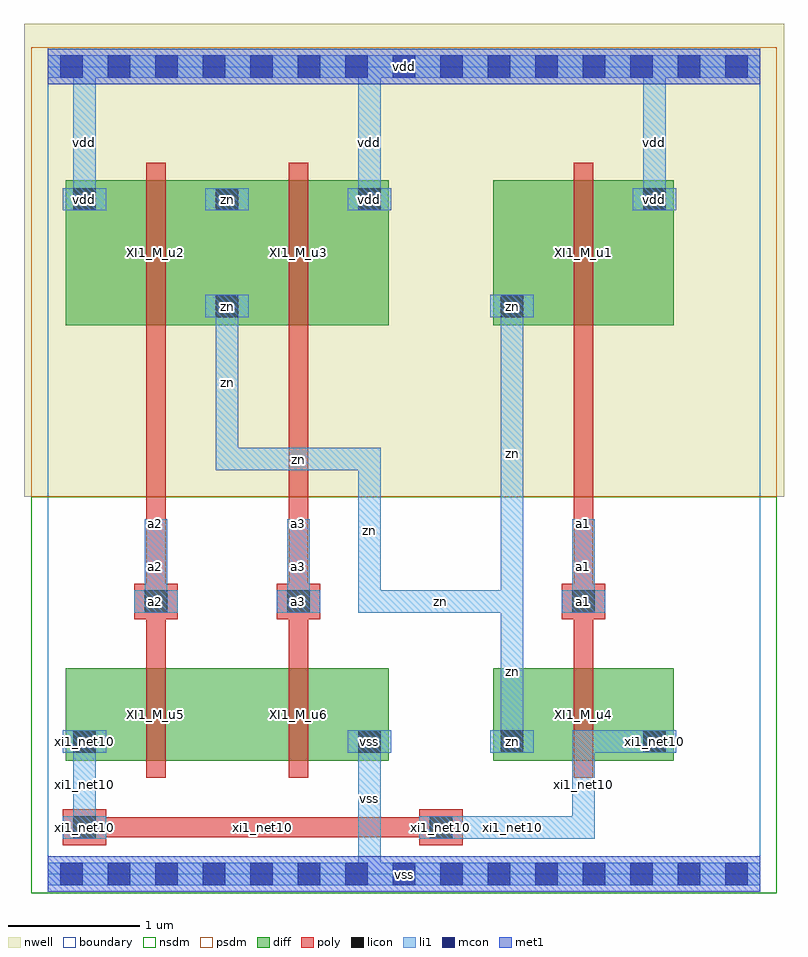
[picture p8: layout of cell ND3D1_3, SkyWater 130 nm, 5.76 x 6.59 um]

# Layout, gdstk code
import gdstk
lib = gdstk.Library(unit=1e-6, precision=1e-09)
def R(c, l, rs):  # rectangles x0, y0, x1, y1
    for r in rs: c.add(gdstk.rectangle(r[:2], r[2:], *l))
def A(c, l, x, y, w, h, nx, ny, dx, dy):  # array of equal rectangles
    R(c, l, [(x+i*dx, y+j*dy, x+i*dx+w, y+j*dy+h) for i in range(nx) for j in range(ny)])
L0_0 = (0, 0)
nwell = (64, 20)
diff = (65, 20)
poly = (66, 20)
licon = (66, 44)
li1 = (67, 20)
mcon = (67, 44)
met1 = (68, 20)
nsdm = (93, 44)
psdm = (94, 20)
boundary = (235, 4)

nd3d1_3 = lib.new_cell('ND3D1_3')
R(nd3d1_3, nwell, [(-0.18,2.86,5.58,6.445)])
A(nd3d1_3, diff, 2.295, 0.86, 0.29, 0.29, 3, 1, 1.08, 0)
A(nd3d1_3, diff, 0.135, 4.97, 0.29, 0.29, 3, 1, 1.08, 0)
R(nd3d1_3, diff, [(0.135,0.86,1.505,1.56), (0.135,0.86,0.425,1.15), (1.215,0.86,2.585,1.56), (3.375,0.86,4.745,1.56), (0.135,4.16,1.505,5.26), (1.215,4.16,2.585,5.26), (1.215,4.16,1.505,4.45), (3.375,4.16,4.745,5.26), (3.375,4.16,3.665,4.45), (4.455,4.97,4.745,5.26)])
R(nd3d1_3, poly, [(0.115,0.22,0.445,0.49), (2.815,0.22,3.145,0.49), (0.205,0.28,3.055,0.43), (0.745,0.73,0.895,1.69), (1.825,0.73,1.975,1.69), (3.985,0.73,4.135,1.69), (0.745,0.93,0.895,4.38), (1.825,0.93,1.975,4.38), (3.985,0.93,4.135,4.38), (0.655,1.93,0.985,2.2), (1.735,1.93,2.065,2.2), (3.895,1.93,4.225,2.2), (0.745,4.03,0.895,5.39), (1.825,4.03,1.975,5.39), (3.985,4.03,4.135,5.39)])
A(nd3d1_3, licon, 2.355, 0.92, 0.17, 0.17, 3, 1, 1.08, 0)
A(nd3d1_3, licon, 0.195, 5.03, 0.17, 0.17, 3, 1, 1.08, 0)
R(nd3d1_3, licon, [(0.195,0.27,0.365,0.44), (2.895,0.27,3.065,0.44), (0.195,0.92,0.365,1.09), (0.735,1.98,0.905,2.15), (1.815,1.98,1.985,2.15), (3.975,1.98,4.145,2.15), (1.275,4.22,1.445,4.39), (3.435,4.22,3.605,4.39), (4.515,5.03,4.685,5.2)])
A(nd3d1_3, li1, 2.275, 0.92, 0.33, 0.17, 3, 1, 1.08, 0)
A(nd3d1_3, li1, 0.115, 5.03, 0.33, 0.17, 3, 1, 1.08, 0)
A(nd3d1_3, li1, 0.195, 5.03, 0.17, 1.03, 3, 1, 2.16, 0)
R(nd3d1_3, li1, [(0,-0.085,5.4,0.085), (2.355,0.06,2.525,1.09), (0.115,0.27,0.445,0.44), (0.195,0.27,0.365,1.09), (2.815,0.27,3.145,0.44), (2.895,0.27,4.145,0.44), (3.975,0.27,4.145,1.09), (0.115,0.92,0.445,1.09), (3.435,0.92,3.605,2.15), (3.975,0.92,4.685,1.09), (0.655,1.98,0.985,2.15), (0.735,1.98,0.905,2.69), (1.735,1.98,2.065,2.15), (1.815,1.98,1.985,2.69), (2.355,1.98,3.605,2.15), (2.355,1.98,2.525,3.23), (3.435,1.98,3.605,4.39), (3.895,1.98,4.225,2.15), (3.975,1.98,4.145,2.69), (1.275,3.06,2.525,3.23), (1.275,3.06,1.445,4.39), (1.195,4.22,1.525,4.39), (3.355,4.22,3.685,4.39), (4.435,5.03,4.765,5.2), (0,6.035,5.4,6.205)])
A(nd3d1_3, mcon, 0.095, -0.085, 0.17, 0.17, 15, 2, 0.36, 6.12)
R(nd3d1_3, met1, [(0,-0.135,5.4,0.135), (0,5.985,5.4,6.255)])
R(nd3d1_3, nsdm, [(-0.125,-0.145,5.525,0.145), (-0.125,0.145,5.525,2.86)])
R(nd3d1_3, psdm, [(-0.125,2.86,5.525,5.975), (-0.125,5.975,5.525,6.265)])
R(nd3d1_3, boundary, [(0,0,5.4,6.12)])
nd3d1_3.add(gdstk.FlexPath([(0.115,0.355),(4.765,0.355)], 0, ends="flush", simple_path=True, layer=0, datatype=0))  # L0_0
nd3d1_3.add(gdstk.FlexPath([(0.115,1.005),(4.765,1.005)], 0, ends="flush", simple_path=True, layer=0, datatype=0))  # L0_0
nd3d1_3.add(gdstk.FlexPath([(0.115,1.415),(4.765,1.415)], 0, ends="flush", simple_path=True, layer=0, datatype=0))  # L0_0
nd3d1_3.add(gdstk.FlexPath([(0.115,2.065),(4.765,2.065)], 0, ends="flush", simple_path=True, layer=0, datatype=0))  # L0_0
nd3d1_3.add(gdstk.FlexPath([(0.115,2.605),(4.765,2.605)], 0, ends="flush", simple_path=True, layer=0, datatype=0))  # L0_0
nd3d1_3.add(gdstk.FlexPath([(0.115,3.145),(4.765,3.145)], 0, ends="flush", simple_path=True, layer=0, datatype=0))  # L0_0
nd3d1_3.add(gdstk.FlexPath([(0.115,4.305),(4.765,4.305)], 0, ends="flush", simple_path=True, layer=0, datatype=0))  # L0_0
nd3d1_3.add(gdstk.FlexPath([(0.115,4.775),(4.765,4.775)], 0, ends="flush", simple_path=True, layer=0, datatype=0))  # L0_0
nd3d1_3.add(gdstk.FlexPath([(0.115,5.115),(4.765,5.115)], 0, ends="flush", simple_path=True, layer=0, datatype=0))  # L0_0
nd3d1_3.add(gdstk.FlexPath([(0.115,5.765),(4.765,5.765)], 0, ends="flush", simple_path=True, layer=0, datatype=0))  # L0_0
nd3d1_3.add(gdstk.FlexPath([(0.28,0.06),(0.28,6.06)], 0, ends="flush", simple_path=True, layer=0, datatype=0))  # L0_0
nd3d1_3.add(gdstk.FlexPath([(0.82,0.06),(0.82,6.06)], 0, ends="flush", simple_path=True, layer=0, datatype=0))  # L0_0
nd3d1_3.add(gdstk.FlexPath([(1.36,0.06),(1.36,6.06)], 0, ends="flush", simple_path=True, layer=0, datatype=0))  # L0_0
nd3d1_3.add(gdstk.FlexPath([(1.9,0.06),(1.9,6.06)], 0, ends="flush", simple_path=True, layer=0, datatype=0))  # L0_0
nd3d1_3.add(gdstk.FlexPath([(2.44,0.06),(2.44,6.06)], 0, ends="flush", simple_path=True, layer=0, datatype=0))  # L0_0
nd3d1_3.add(gdstk.FlexPath([(2.98,0.06),(2.98,6.06)], 0, ends="flush", simple_path=True, layer=0, datatype=0))  # L0_0
nd3d1_3.add(gdstk.FlexPath([(3.52,0.06),(3.52,6.06)], 0, ends="flush", simple_path=True, layer=0, datatype=0))  # L0_0
nd3d1_3.add(gdstk.FlexPath([(4.06,0.06),(4.06,6.06)], 0, ends="flush", simple_path=True, layer=0, datatype=0))  # L0_0
nd3d1_3.add(gdstk.FlexPath([(4.6,0.06),(4.6,6.06)], 0, ends="flush", simple_path=True, layer=0, datatype=0))  # L0_0
nd3d1_3.add(gdstk.Label('XI1_M_u4', (4.06,1.21), layer=65, texttype=20))
nd3d1_3.add(gdstk.Label('XI1_M_u5', (0.82,1.21), layer=65, texttype=20))
nd3d1_3.add(gdstk.Label('XI1_M_u6', (1.9,1.21), layer=65, texttype=20))
nd3d1_3.add(gdstk.Label('XI1_M_u3', (1.9,4.71), layer=65, texttype=20))
nd3d1_3.add(gdstk.Label('XI1_M_u1', (4.06,4.71), layer=65, texttype=20))
nd3d1_3.add(gdstk.Label('XI1_M_u2', (0.82,4.71), layer=65, texttype=20))
nd3d1_3.add(gdstk.Label('zn', (3.52,1.005), layer=65, texttype=20))
nd3d1_3.add(gdstk.Label('zn', (1.36,4.305), layer=65, texttype=20))
nd3d1_3.add(gdstk.Label('zn', (1.36,5.115), layer=65, texttype=20))
nd3d1_3.add(gdstk.Label('zn', (3.52,4.305), layer=65, texttype=20))
nd3d1_3.add(gdstk.Label('xi1_net10', (4.6,1.005), layer=65, texttype=20))
nd3d1_3.add(gdstk.Label('xi1_net10', (0.28,1.005), layer=65, texttype=20))
nd3d1_3.add(gdstk.Label('vss', (2.44,1.005), layer=65, texttype=20))
nd3d1_3.add(gdstk.Label('vdd', (2.44,5.115), layer=65, texttype=20))
nd3d1_3.add(gdstk.Label('vdd', (4.6,5.115), layer=65, texttype=20))
nd3d1_3.add(gdstk.Label('vdd', (0.28,5.115), layer=65, texttype=20))
nd3d1_3.add(gdstk.Label('a1', (4.06,2.655), layer=66, texttype=20))
nd3d1_3.add(gdstk.Label('a1', (4.06,2.065), layer=66, texttype=20))
nd3d1_3.add(gdstk.Label('xi1_net10', (2.98,0.355), layer=66, texttype=20))
nd3d1_3.add(gdstk.Label('xi1_net10', (1.63,0.355), layer=66, texttype=20))
nd3d1_3.add(gdstk.Label('xi1_net10', (0.28,0.355), layer=66, texttype=20))
nd3d1_3.add(gdstk.Label('a2', (0.82,2.655), layer=66, texttype=20))
nd3d1_3.add(gdstk.Label('a2', (0.82,2.065), layer=66, texttype=20))
nd3d1_3.add(gdstk.Label('a3', (1.9,2.655), layer=66, texttype=20))
nd3d1_3.add(gdstk.Label('a3', (1.9,2.065), layer=66, texttype=20))
nd3d1_3.add(gdstk.Label('zn', (3.52,1.005), layer=66, texttype=44))
nd3d1_3.add(gdstk.Label('zn', (1.36,4.305), layer=66, texttype=44))
nd3d1_3.add(gdstk.Label('zn', (1.36,5.115), layer=66, texttype=44))
nd3d1_3.add(gdstk.Label('zn', (3.52,4.305), layer=66, texttype=44))
nd3d1_3.add(gdstk.Label('a1', (4.06,2.065), layer=66, texttype=44))
nd3d1_3.add(gdstk.Label('xi1_net10', (4.6,1.005), layer=66, texttype=44))
nd3d1_3.add(gdstk.Label('xi1_net10', (0.28,1.005), layer=66, texttype=44))
nd3d1_3.add(gdstk.Label('xi1_net10', (2.98,0.355), layer=66, texttype=44))
nd3d1_3.add(gdstk.Label('xi1_net10', (0.28,0.355), layer=66, texttype=44))
nd3d1_3.add(gdstk.Label('a2', (0.82,2.065), layer=66, texttype=44))
nd3d1_3.add(gdstk.Label('a3', (1.9,2.065), layer=66, texttype=44))
nd3d1_3.add(gdstk.Label('vss', (2.44,1.005), layer=66, texttype=44))
nd3d1_3.add(gdstk.Label('vdd', (2.44,5.115), layer=66, texttype=44))
nd3d1_3.add(gdstk.Label('vdd', (4.6,5.115), layer=66, texttype=44))
nd3d1_3.add(gdstk.Label('vdd', (0.28,5.115), layer=66, texttype=44))
nd3d1_3.add(gdstk.Label('zn', (3.52,1.005), layer=67, texttype=16))
nd3d1_3.add(gdstk.Label('zn', (1.36,4.305), layer=67, texttype=16))
nd3d1_3.add(gdstk.Label('zn', (1.36,5.115), layer=67, texttype=16))
nd3d1_3.add(gdstk.Label('zn', (3.52,4.305), layer=67, texttype=16))
nd3d1_3.add(gdstk.Label('zn', (3.52,1.535), layer=67, texttype=16))
nd3d1_3.add(gdstk.Label('zn', (2.98,2.065), layer=67, texttype=16))
nd3d1_3.add(gdstk.Label('zn', (2.44,2.605), layer=67, texttype=16))
nd3d1_3.add(gdstk.Label('zn', (1.9,3.145), layer=67, texttype=16))
nd3d1_3.add(gdstk.Label('zn', (1.36,3.725), layer=67, texttype=16))
nd3d1_3.add(gdstk.Label('zn', (3.52,3.185), layer=67, texttype=16))
nd3d1_3.add(gdstk.Label('a1', (4.06,2.065), layer=67, texttype=16))
nd3d1_3.add(gdstk.Label('a1', (4.06,2.335), layer=67, texttype=16))
nd3d1_3.add(gdstk.Label('xi1_net10', (4.6,1.005), layer=67, texttype=20))
nd3d1_3.add(gdstk.Label('xi1_net10', (0.28,1.005), layer=67, texttype=20))
nd3d1_3.add(gdstk.Label('xi1_net10', (4.33,1.005), layer=67, texttype=20))
nd3d1_3.add(gdstk.Label('xi1_net10', (4.06,0.68), layer=67, texttype=20))
nd3d1_3.add(gdstk.Label('xi1_net10', (3.52,0.355), layer=67, texttype=20))
nd3d1_3.add(gdstk.Label('xi1_net10', (2.98,0.355), layer=67, texttype=20))
nd3d1_3.add(gdstk.Label('xi1_net10', (0.28,0.355), layer=67, texttype=20))
nd3d1_3.add(gdstk.Label('xi1_net10', (0.28,0.68), layer=67, texttype=20))
nd3d1_3.add(gdstk.Label('a2', (0.82,2.065), layer=67, texttype=16))
nd3d1_3.add(gdstk.Label('a2', (0.82,2.335), layer=67, texttype=16))
nd3d1_3.add(gdstk.Label('a3', (1.9,2.065), layer=67, texttype=16))
nd3d1_3.add(gdstk.Label('a3', (1.9,2.335), layer=67, texttype=16))
nd3d1_3.add(gdstk.Label('vss', (2.44,1.005), layer=67, texttype=20))
nd3d1_3.add(gdstk.Label('vss', (2.44,0.575), layer=67, texttype=20))
nd3d1_3.add(gdstk.Label('vdd', (2.44,5.115), layer=67, texttype=20))
nd3d1_3.add(gdstk.Label('vdd', (2.44,5.545), layer=67, texttype=20))
nd3d1_3.add(gdstk.Label('vdd', (4.6,5.115), layer=67, texttype=20))
nd3d1_3.add(gdstk.Label('vdd', (4.6,5.545), layer=67, texttype=20))
nd3d1_3.add(gdstk.Label('vdd', (0.28,5.115), layer=67, texttype=20))
nd3d1_3.add(gdstk.Label('vdd', (0.28,5.545), layer=67, texttype=20))
nd3d1_3.add(gdstk.Label('vss', (2.7,0), layer=67, texttype=16))
nd3d1_3.add(gdstk.Label('vdd', (2.7,6.12), layer=67, texttype=16))
nd3d1_3.add(gdstk.Label('vss', (2.7,0), layer=68, texttype=16))
nd3d1_3.add(gdstk.Label('vdd', (2.7,6.12), layer=68, texttype=16))

lib.write_gds('ND3D1_3.gds')
